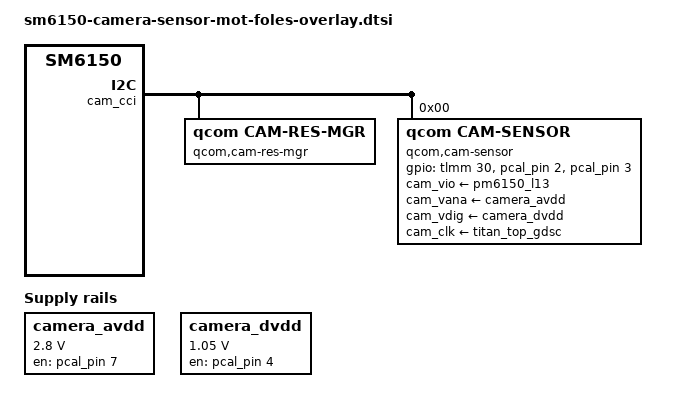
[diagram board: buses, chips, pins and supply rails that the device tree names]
/*
 * Copyright (c) 2018, The Linux Foundation. All rights reserved.
 *
 * This program is free software; you can redistribute it and/or modify
 * it under the terms of the GNU General Public License version 2 and
 * only version 2 as published by the Free Software Foundation.
 *
 * This program is distributed in the hope that it will be useful,
 * but WITHOUT ANY WARRANTY; without even the implied warranty of
 * MERCHANTABILITY or FITNESS FOR A PARTICULAR PURPOSE.  See the
 * GNU General Public License for more details.
 */
&soc {
	camera_avdd: gpio-regulator@3 {
		compatible = "regulator-fixed";
		regulator-name = "camera_avdd";
		regulator-min-microvolt = <2800000>;
		regulator-max-microvolt = <2800000>;
		regulator-enable-ramp-delay = <135>;
		enable-active-high;
		gpio = <&pcal_pin 7 0>;
	};
	camera_dvdd: gpio-regulator@4 {
		compatible = "regulator-fixed";
		regulator-name = "camera_dvdd";
		regulator-min-microvolt = <1050000>;
		regulator-max-microvolt = <1050000>;
		regulator-enable-ramp-delay = <135>;
		enable-active-high;
		gpio = <&pcal_pin 4 0>;
	};

};
&cam_cci {
	qcom,cam-res-mgr {
		compatible = "qcom,cam-res-mgr";
		status = "ok";
	};

	qcom,cam-sensor@0 {
		cell-index = <0>;
		compatible = "qcom,cam-sensor";
		reg = <0x00>;
		csiphy-sd-index = <1>;
		sensor-position-roll = <270>;
		sensor-position-pitch = <0>;
		sensor-position-yaw = <0>;
		cam_vio-supply = <&pm6150_l13>;
		cam_vana-supply = <&camera_avdd>;
		cam_vdig-supply = <&camera_dvdd>;
		cam_clk-supply = <&titan_top_gdsc>;
		regulator-names = "cam_vio", "cam_vana", "cam_vdig",
			"cam_clk";
		rgltr-cntrl-support;
		rgltr-min-voltage = <1800000 2800000 1050000 0>;
		rgltr-max-voltage = <1800000 2800000 1050000 0>;
		rgltr-load-current = <0 80000 105000 0>;
		gpio-no-mux = <0>;
		pinctrl-names = "cam_default", "cam_suspend";
		pinctrl-0 = <&cam_sensor_mclk2_active
				 &cam_sensor_front_active>;
		pinctrl-1 = <&cam_sensor_mclk2_suspend
				 &cam_sensor_front_suspend>;
		gpios = <&tlmm 30 0>,
			<&pcal_pin 2 0>,
			<&pcal_pin 3 0>;
		gpio-reset= <1>;
		gpio-standby= <2>;
		gpio-req-tbl-num = <0 1 2>;
		gpio-req-tbl-flags = <1 0 0>;
		gpio-req-tbl-label = "CAMIF_MCLK1",
				"CAM_RESET1",
				"CAM_STANDBY2";
		sensor-mode = <0>;
		cci-master = <1>;
		status = "ok";
		clocks = <&clock_camcc CAM_CC_MCLK2_CLK>;
		clock-names = "cam_clk";
		clock-cntl-level = "turbo";
		clock-rates = <24000000>;
	};
};
